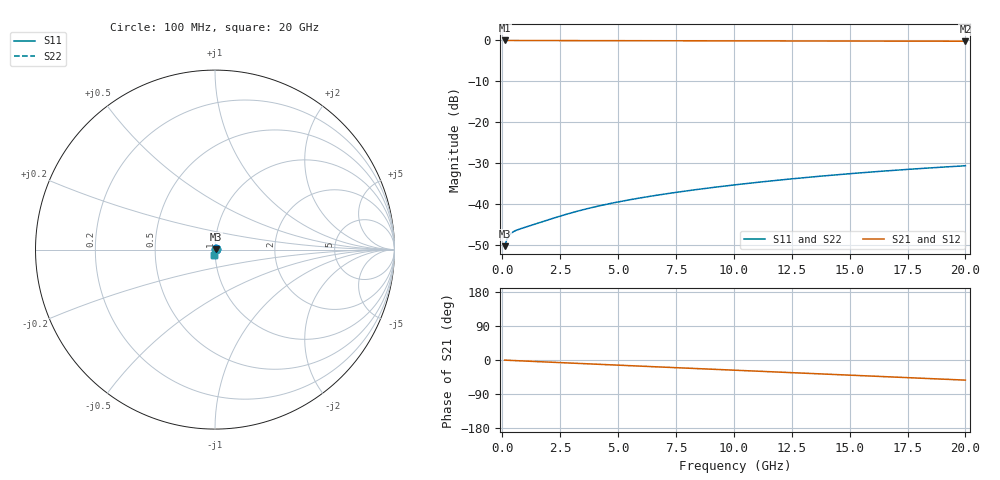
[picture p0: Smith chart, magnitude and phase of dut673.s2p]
! Touchstone file exported from HFSS 2026.1.0
!  File:  C:/ffzhzh/LocalFiles/Ansys_Project_Files/temp_train_TMRDL_673_1783009953_51716.aedt
!  Generated:  12:34:09 AM Jul  3, 2026
!  Design:  TMRDL
!  Project:  temp_train_TMRDL_673_1783009953_51716
! Variables:
!  h_bsmrdl = 2um
!  h_ox = 20um
!  h_rdl = 5um
!  h_sub = 80um
!  h_tmrdl = 4.8um
!  h_tsv = 80um
!  h_via = 3um
!  l_bsmrdl = 300um
!  l_sub = 1353.27um
!  l_tmrdl = 953.27um
!  m_sub = 200um
!  pitch = 33.3um
!  r_tsv = 6um
!  s_tmrdl = 10um
!  w_bsmrdl = 18um
!  w_sub = 500um
!  w_tmrdl = 28.14um
!  x_tsv_center1 = 967.34um
!  x_tsv_center2 = 1285.34um
!  x_tsv_center3 = 2266.75um
!  x_tsv_center4 = 2584.75um
!  x_tsv_center5 = 3566.16um
!  x_tsv_center6 = 3884.16um
# GHz S MA R 50.000000
! Terminal data exported
! Port[1] = TM_RDL1_1_T1
! Port[2] = TM_RDL1_1_T2
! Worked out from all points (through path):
!   200 points, 100 MHz to 20 GHz, reference 50 ohm
!   highest |S21| = -0.03 dB at 100 MHz (marker M1); lowest = -0.2 dB at 20 GHz (marker M2)
!   group delay of S21, straight-line fit = 7.34 ps
!   lowest |S11| = -50.3 dB at 100 MHz (marker M3), VSWR 1.01, Z = 50.3 + j0.0854 ohm
!   |S11| at or under -10 dB: start of sweep to end of sweep
!   |S22| runs from -50.3 to -30.7 dB; largest |S21 - S12| = 9.2e-15
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0.1  0.003056 16.1  0.9971 -0.3  0.9971 -0.3  0.003056 16.1
! Gamma 0 0 0 0
! Port Impedance 50 0 50 0
0.2  0.003722 19.1  0.9965 -0.6  0.9965 -0.6  0.003721 19.0
0.3  0.004169 17.9  0.996 -0.9  0.996 -0.9  0.004165 17.8
0.4  0.004445 16.4  0.9957 -1.2  0.9957 -1.2  0.00444 16.3
0.5  0.004631 15.2  0.9955 -1.4  0.9955 -1.4  0.004625 15.2
0.6  0.004773 14.5  0.9954 -1.7  0.9954 -1.7  0.004765 14.5
0.8  0.005003 13.6  0.9952 -2.3  0.9952 -2.3  0.004995 13.7
2.3  0.006843 9.2  0.9934 -6.4  0.9934 -6.4  0.006837 9.3
2.9  0.007688 5.4  0.9925 -8.0  0.9925 -8.0  0.00768 5.4
3.5  0.008538 0.8  0.9916 -9.6  0.9916 -9.6  0.008527 0.8
4.2  0.009516 -5.1  0.9905 -11.5  0.9905 -11.5  0.0095 -5.1
5  0.01061 -12.0  0.9893 -13.6  0.9893 -13.6  0.01058 -11.9
5.9  0.0118 -19.6  0.9881 -16.0  0.9881 -16.0  0.01177 -19.5
6.8  0.01298 -26.8  0.9869 -18.4  0.9869 -18.4  0.01293 -26.8
8.4  0.01504 -38.7  0.9852 -22.6  0.9852 -22.6  0.01498 -38.7
10.1  0.01723 -49.9  0.9835 -27.1  0.9835 -27.1  0.01714 -50.0
11.7  0.01929 -59.4  0.9821 -31.3  0.9821 -31.3  0.01918 -59.6
13.4  0.02146 -68.6  0.9806 -35.8  0.9806 -35.8  0.02132 -68.8
15  0.02347 -76.5  0.9794 -40.0  0.9794 -40.0  0.02331 -76.7
16.7  0.02555 -84.4  0.9781 -44.5  0.9781 -44.5  0.02537 -84.6
18.4  0.02756 -91.7  0.9768 -48.9  0.9768 -48.9  0.02734 -92.0
20  0.02934 -98.2  0.9757 -53.1  0.9757 -53.1  0.0291 -98.6
